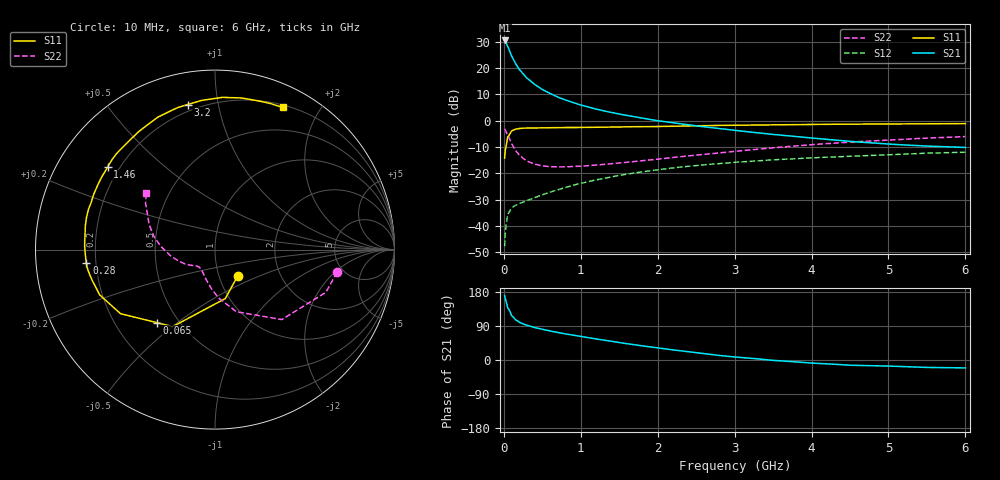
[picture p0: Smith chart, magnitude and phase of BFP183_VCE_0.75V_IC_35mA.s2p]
! Infineon Technologies  Discrete & RF Semiconductors
! BFP183
! VCE = 0.75V,  IC =  35 mA
! Common Emitter S-Parameters:  Jan 2016
# GHz  S  MA  R  50
!  f  S11  S21  S12  S22
! GHz  MAG  ANG  MAG  ANG  MAG  ANG  MAG  ANG
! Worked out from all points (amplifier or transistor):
!   210 points, 10 MHz to 6 GHz, reference 50 ohm
!   highest |S21| = 30.5 dB at 10 MHz (marker M1)
!   |S21| within 3 dB of that: start of sweep to 61.47 MHz
!   unconditionally stable (mu >= 1): start of sweep to 20.44 MHz; 216.5 MHz to end of sweep
!   at 185 MHz: K = 0.91, MSG = 26.0 dB, |S12| = -31.8 dB
!   at 1.52 GHz: K = 1.81, MAG = 6.4 dB, |S12| = -20.7 dB
!   at 6 GHz: K = 1.50, MAG = -3.3 dB, |S12| = -12.0 dB
!   S11 on the Smith chart (normalised r, x): 10 MHz: 1.23, -0.37; 65 MHz: 0.38, -0.43; 280 MHz: 0.16, -0.05; 1.46 GHz: 0.16, +0.33; 3.2 GHz: 0.16, +0.82; 6 GHz: 0.23, +1.56
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0.01  0.1932 -48.8  33.4 170.2  0.0041 68.2  0.6917 -10.5
0.02  0.2787 -78.1  32.33 160.8  0.0077 68.8  0.662 -21.1
0.05  0.4894 -118.8  25.89 138.0  0.0163 55.4  0.5391 -46.3
0.065  0.5198 -128.4  22.97 133.5  0.0178 50.2  0.4796 -51.8
0.1  0.6362 -145.9  17.02 117.3  0.0217 41.1  0.3667 -70.9
0.15  0.6904 -158.6  12.22 106.6  0.0245 38.6  0.2734 -85.1
0.2  0.7065 -166.4  9.459 99.9  0.0264 39.2  0.2223 -94.5
0.24  0.7164 -170.6  8.017 96.2  0.0278 40.2  0.1973 -99.8
0.28  0.7204 -174.2  6.919 93.0  0.0293 41.9  0.1787 -104.9
0.3  0.7219 -176.0  6.428 91.4  0.03 42.9  0.1707 -107.5
0.4  0.727 178.3  4.866 85.5  0.0343 47.2  0.1487 -116.1
0.5  0.7282 173.9  3.892 80.8  0.0388 48.9  0.1379 -121.7
0.7  0.7382 165.9  2.794 72.6  0.0484 53.1  0.1317 -130.0
0.8  0.74 162.3  2.462 68.8  0.0534 54.0  0.1318 -132.6
1.02  0.7429 155.0  1.943 61.4  0.065 55.0  0.1361 -137.4
1.46  0.7547 142.5  1.367 47.4  0.0886 53.5  0.1546 -145.2
2.02  0.7736 127.2  0.986 31.4  0.1169 48.7  0.1861 -154.7
3.1  0.8199 102.6  0.629 6.4  0.1645 36.5  0.2686 -176.8
3.2  0.8222 100.7  0.607 4.8  0.1682 35.4  0.2772 -178.7
4.1  0.8498 85.8  0.454 -9.1  0.1988 25.4  0.3573 165.7
5.1  0.8639 73.2  0.351 -16.7  0.2268 16.0  0.4336 150.9
6  0.877 64.6  0.309 -20.9  0.2509 6.5  0.4966 140.5
